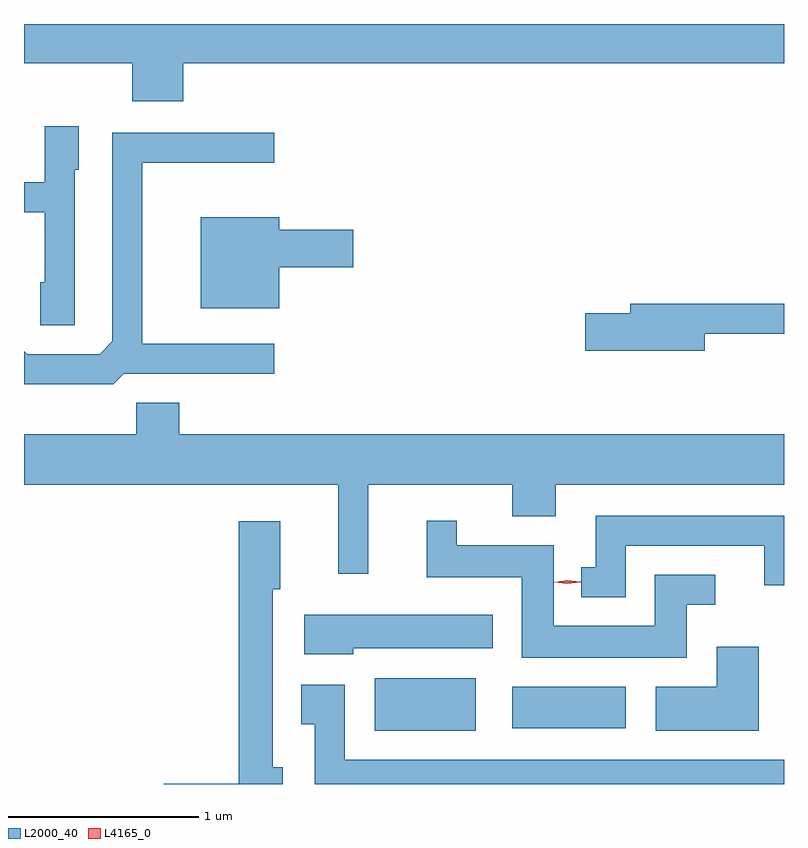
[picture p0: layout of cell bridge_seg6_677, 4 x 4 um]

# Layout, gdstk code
import gdstk
lib = gdstk.Library(unit=1e-6, precision=1e-09)
def R(c, l, rs):  # rectangles x0, y0, x1, y1
    for r in rs: c.add(gdstk.rectangle(r[:2], r[2:], *l))
def P(c, l, *ps):  # polygons
    for p in ps: c.add(gdstk.Polygon(p, *l))
L2000_40 = (2000, 40)
L4165_0 = (4165, 0)

bridge_seg6_677 = lib.new_cell('bridge_seg6_677')
R(bridge_seg6_677, L2000_40, [(308.506,1539.861,309.039,1540.139), (309.231,1539.876,309.829,1540.094)])
P(bridge_seg6_677, L2000_40, [(307.499,1543.376),(310.661,1543.376),(310.661,1543.582),(306.661,1543.582),(306.661,1543.376),(307.231,1543.376),(307.231,1543.176),(307.499,1543.176)],
  [(306.929,1542.816),(306.949,1542.816),(306.949,1543.044),(306.771,1543.044),(306.771,1542.749),(306.661,1542.749),(306.661,1542.591),(306.771,1542.591),(306.771,1542.224),(306.746,1542.224),(306.746,1541.996),(306.929,1541.996)],
  [(307.187,1541.741),(307.978,1541.741),(307.978,1541.899),(307.284,1541.899),(307.284,1542.851),(307.978,1542.851),(307.978,1543.009),(307.126,1543.009),(307.126,1541.912),(307.059,1541.844),(306.677,1541.844),(306.661,1541.86),(306.661,1541.686),(307.132,1541.686)],
  [(308.004,1542.301),(308.394,1542.301),(308.394,1542.499),(308.004,1542.499),(308.004,1542.564),(307.591,1542.564),(307.591,1542.086),(308.004,1542.086)],
  [(310.244,1541.951),(310.661,1541.951),(310.661,1542.109),(309.851,1542.109),(309.851,1542.059),(309.616,1542.059),(309.616,1541.861),(310.244,1541.861)],
  [(308.474,1541.156),(309.231,1541.156),(309.231,1540.991),(309.459,1540.991),(309.459,1541.156),(310.661,1541.156),(310.661,1541.424),(307.479,1541.424),(307.479,1541.589),(307.251,1541.589),(307.251,1541.424),(306.661,1541.424),(306.661,1541.156),(308.316,1541.156),(308.316,1540.688),(308.474,1540.688)],
  [(309.829,1540.836),(310.556,1540.836),(310.556,1540.628),(310.661,1540.628),(310.661,1540.994),(309.671,1540.994),(309.671,1540.724),(309.593,1540.724),(309.593,1540.566),(309.829,1540.566)],
  [(310.149,1540.526),(310.298,1540.526),(310.298,1540.684),(309.981,1540.684),(309.981,1540.414),(309.449,1540.414),(309.449,1540.839),(308.939,1540.839),(308.939,1540.968),(308.781,1540.968),(308.781,1540.671),(309.281,1540.671),(309.281,1540.246),(310.149,1540.246)],
  [(308.024,1539.669),(307.969,1539.669),(307.969,1540.606),(308.009,1540.606),(308.009,1540.964),(307.791,1540.964),(307.791,1539.584),(307.396,1539.584),(307.396,1539.582),(308.024,1539.582)],
  [(308.394,1540.296),(309.129,1540.296),(309.129,1540.474),(308.136,1540.474),(308.136,1540.266),(308.394,1540.266)],
  [(310.529,1540.304),(310.306,1540.304),(310.306,1540.094),(309.986,1540.094),(309.986,1539.861),(310.529,1539.861)],
  [(310.661,1539.709),(308.349,1539.709),(308.349,1540.104),(308.121,1540.104),(308.121,1539.896),(308.191,1539.896),(308.191,1539.582),(310.661,1539.582)])
P(bridge_seg6_677, L4165_0, [(309.521,1540.635),(309.452,1540.644),(309.452,1540.644),(309.452,1540.645),(309.521,1540.654),(309.591,1540.646),(309.591,1540.645),(309.591,1540.644)])

lib.write_gds('bridge_seg6_677.gds')
